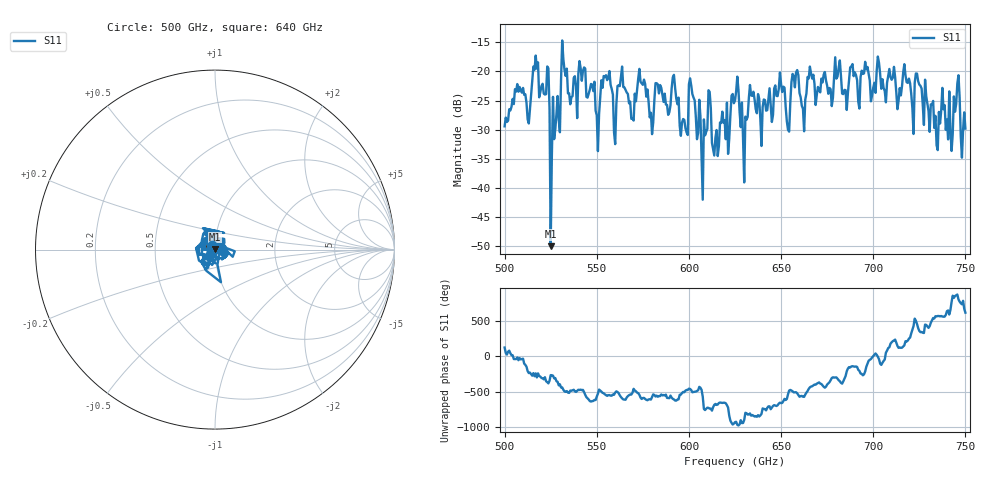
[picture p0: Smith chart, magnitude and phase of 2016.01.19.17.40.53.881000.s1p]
!Created with skrf (http://scikit-rf.org).
# GHz S RI R 50.0
!freq ReS11 ImS11
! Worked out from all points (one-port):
!   401 points, 500 GHz to 750 GHz, reference 50 ohm
!   lowest |S11| = -50.1 dB at 525 GHz (marker M1), VSWR 1.01, Z = 50 + j0.313 ohm
!   |S11| at or under -10 dB: start of sweep to end of sweep
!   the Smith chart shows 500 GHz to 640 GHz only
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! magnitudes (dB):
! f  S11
! 500 GHz  -29.4
! 506.9 GHz  -22.2
! 513.1 GHz  -28.9
! 516.9 GHz  -17.3
! 523.1 GHz  -19.1
! 525 GHz  -50.1
! 526.2 GHz  -24.4
! 531.2 GHz  -14.7
! 541.9 GHz  -21.6
! 550.6 GHz  -33.7
! 553.8 GHz  -20.8
! 559.4 GHz  -30.5
! 562.5 GHz  -22.5
! 593.8 GHz  -25.6
! 598.1 GHz  -29.8
! 601.2 GHz  -22.4
! 608.1 GHz  -28.3
! 610.6 GHz  -23.2
! 615 GHz  -30.1
! 625 GHz  -25.0
! 630.6 GHz  -27.8
! 633.8 GHz  -24.1
! 650.6 GHz  -23.5
! 653.8 GHz  -30.0
! 656.2 GHz  -20.4
! 687.5 GHz  -19.3
! 718.8 GHz  -22.0
! 750 GHz  -29.8
